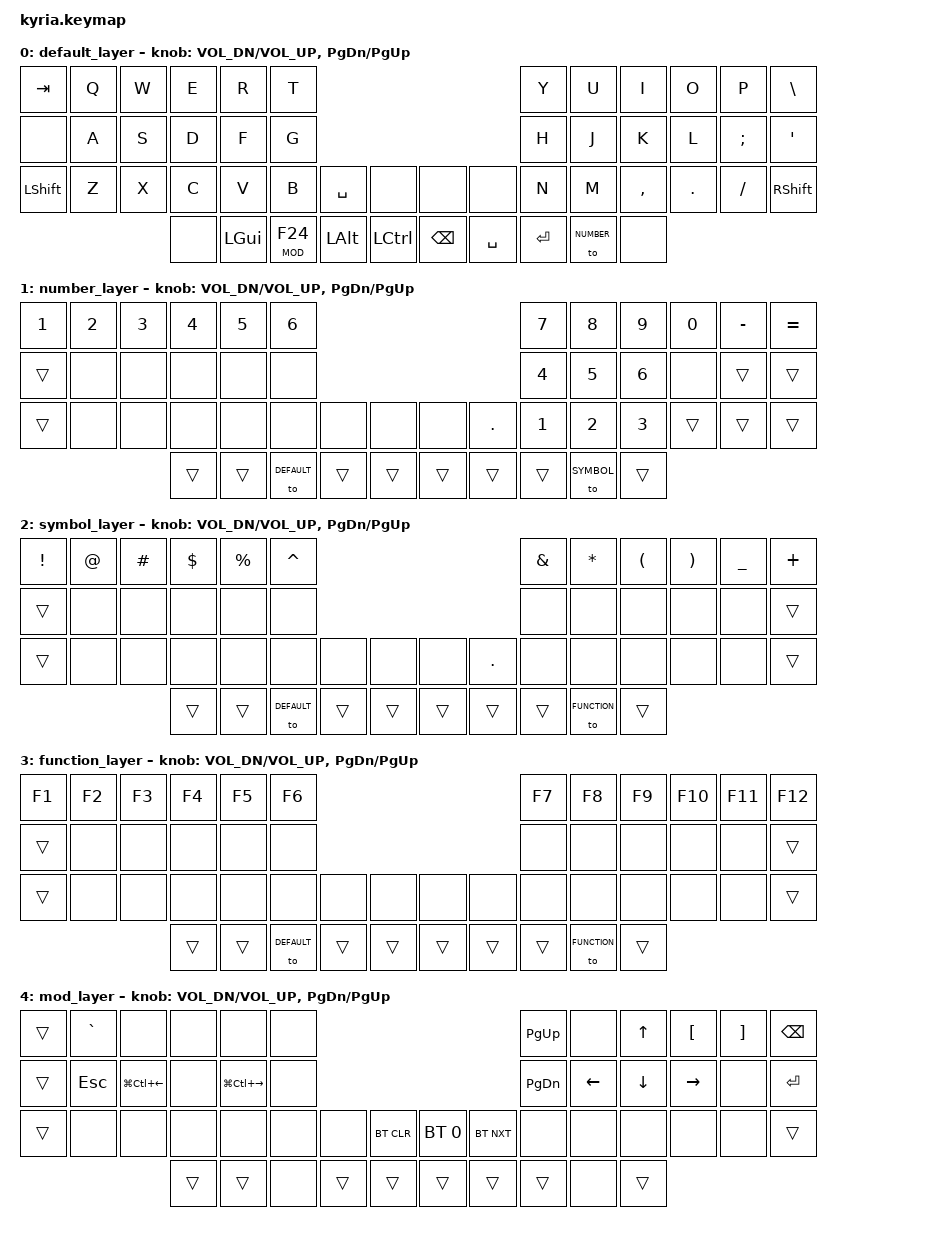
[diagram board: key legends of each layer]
/*
 * Copyright (c) 2020 The ZMK Contributors
 *
 * SPDX-License-Identifier: MIT
 */

#include <behaviors.dtsi>
#include <dt-bindings/zmk/keys.h>
#include <dt-bindings/zmk/bt.h>

#define DEFAULT 0
#define NUMBER 1
#define SYMBOL 2
#define FUNCTION 3
#define MOD 4

#define NONE 0

/ {
	keymap {
		compatible = "zmk,keymap";

		default_layer {
			bindings = <
	&kp TAB		&kp Q 	&kp W 	&kp E	&kp R 		&kp T                                                         			&kp Y 		&kp U  			&kp I     &kp O   &kp P    	&kp BSLH
	&none    	&kp A 	&kp S 	&kp D	&kp F 		&kp G                                                         			&kp H 		&kp J  			&kp K     &kp L   &kp SEMI 	&kp SQT
	&kp LSHFT 	&kp Z 	&kp X 	&kp C	&kp V 		&kp B 			&kp SPACE 	&none				&none 		&none  		&kp N 		&kp M  			&kp COMMA &kp DOT &kp FSLH 	&kp RSHIFT
	                 			&none	&kp LGUI	&lt MOD F24 	&kp LALT 	&kp LCTRL		   	&kp BSPC	&kp SPACE 	&kp RET 	&to NUMBER		&none
			>;

			sensor-bindings = <&inc_dec_kp C_VOL_DN C_VOL_UP &inc_dec_kp PG_DN PG_UP>;
		};
		
		number_layer {
			bindings = <
	&kp N1		&kp N2 		&kp N3 	&kp N4 	&kp N5 		&kp N6 																		&kp N7			&kp N8 		&kp N9		&kp N0	&kp MINUS 	&kp EQUAL
	&trans		&none 		&none 	&none 	&none 		&none 																		&kp N4			&kp N5		&kp N6		&none	&trans 		&trans
	&trans		&none 		&none 	&none 	&none 		&none 			&none		&none					&none		&kp DOT 	&kp N1 			&kp N2		&kp N3 		&trans 	&trans 		&trans
	                 				&trans	&trans		&to DEFAULT		&trans		&trans					&trans		&trans		&trans			&to SYMBOL	&trans
			>;
			sensor-bindings = <&inc_dec_kp C_VOL_DN C_VOL_UP &inc_dec_kp PG_DN PG_UP>;
		};

	symbol_layer	 {
			bindings = <
	&kp EXCL    &kp AT 	&kp HASH	&kp DLLR 	&kp PRCNT 	&kp CARET 																&kp AMPS		&kp STAR 			&kp LPAR	&kp RPAR	&kp UNDER 	&kp PLUS
	&trans     	&none 	&none 		&none 		&none 		&none 																	&none			&none				&none		&none		&none 		&trans
	&trans		&none 	&none 		&none 		&none 		&none 		&none		&none				&none			&kp DOT 	&none 			&none				&none 		&none 		&none 		&trans
	                 				&trans		&trans		&to DEFAULT	&trans		&trans				&trans			&trans		&trans			&to FUNCTION		&trans
			>;
			sensor-bindings = <&inc_dec_kp C_VOL_DN C_VOL_UP &inc_dec_kp PG_DN PG_UP>;
		};

		function_layer {
			bindings = <
	&kp F1    	&kp F2 		&kp F3 		&kp F4 		&kp F5 		&kp F6 														&kp F7			&kp F8 			&kp F9		&kp F10		&kp F11		&kp F12
	&trans     	&none 		&none 		&none 		&none 		&none 														&none			&none			&none		&none		&none 		&trans
	&trans     	&none 		&none 		&none 		&none 		&none 			&none	&none			&none	&none 		&none 			&none			&none 		&none 		&none 		&trans
	                 					&trans		&trans		&to DEFAULT		&trans	&trans			&trans	&trans		&trans			&to FUNCTION	&trans
			>;
			sensor-bindings = <&inc_dec_kp C_VOL_DN C_VOL_UP &inc_dec_kp PG_DN PG_UP>;
		};

		mod_layer {
			bindings = <
	&trans  	&kp GRAVE 	&none	&none	&none		&none																				&kp PG_UP	&none			&kp UP		&kp LBKT	&kp RBKT	&kp BSPC
	&trans 		&kp ESC 	&kp LG(LC(LEFT)) 	&none 	&kp LG(LC(RIGHT)) 		&none 																				&kp PG_DN	&kp LEFT		&kp DOWN	&kp RIGHT	&none 		&kp RET
	&trans		&none 		&none 	&none 	&none 		&none 			&none		&bt BT_CLR				&bt BT_SEL 0	&bt BT_NXT		&none 		&none			&none 		&none 		&none 		&trans
	                 				&trans	&trans		&none			&trans		&trans					&trans			&trans			&trans		&none			&trans
			>;
			sensor-bindings = <&inc_dec_kp C_VOL_DN C_VOL_UP &inc_dec_kp PG_DN PG_UP>;
		};
	};
};
 
